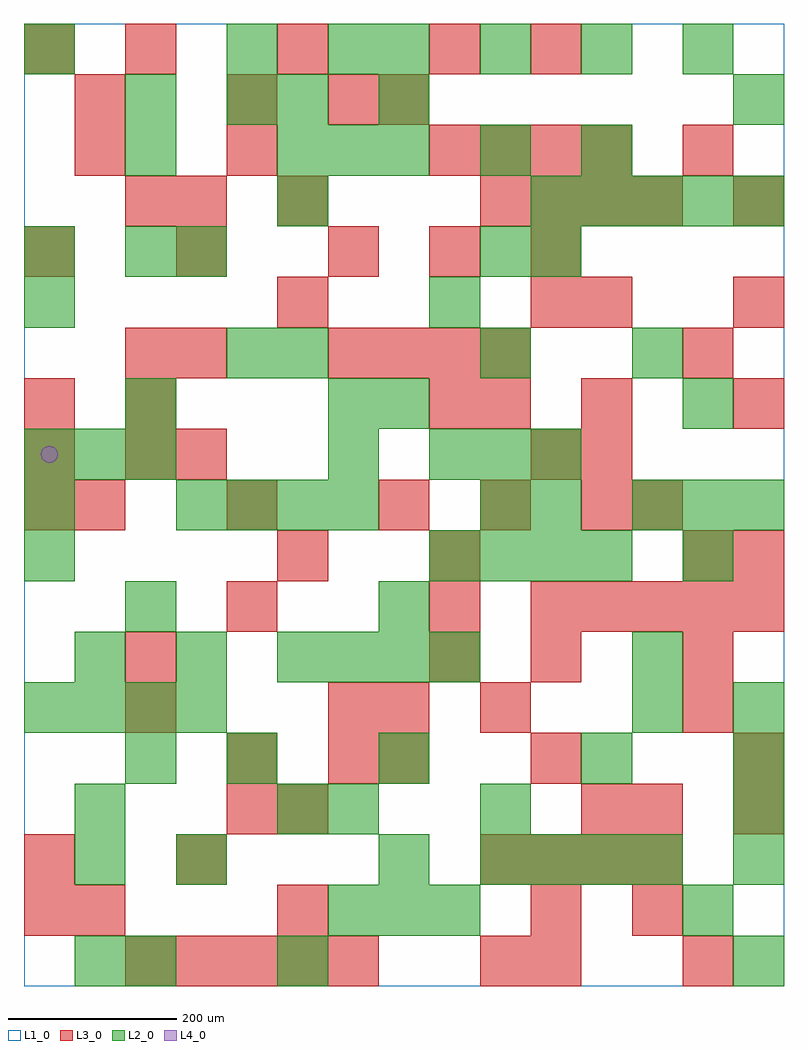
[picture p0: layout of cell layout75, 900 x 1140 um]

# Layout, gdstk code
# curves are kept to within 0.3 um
import gdstk
lib = gdstk.Library(unit=1e-6, precision=1e-09)
def R(c, l, rs):  # rectangles x0, y0, x1, y1
    for r in rs: c.add(gdstk.rectangle(r[:2], r[2:], *l))
def A(c, l, x, y, w, h, nx, ny, dx, dy):  # array of equal rectangles
    R(c, l, [(x+i*dx, y+j*dy, x+i*dx+w, y+j*dy+h) for i in range(nx) for j in range(ny)])
def P(c, l, *ps):  # polygons
    for p in ps: c.add(gdstk.Polygon(p, *l))
L1_0 = (1, 0)
L2_0 = (2, 0)
L3_0 = (3, 0)
L4_0 = (4, 0)

layout75 = lib.new_cell('layout75')
R(layout75, L1_0, [(0,0,900,1140)])
A(layout75, L2_0, 360, 60, 60, 60, 3, 2, 60, 300)
A(layout75, L2_0, 540, 120, 60, 60, 4, 1, 60, 0)
A(layout75, L2_0, 840, 120, 60, 60, 1, 4, 0, 60)
A(layout75, L2_0, 0, 300, 60, 60, 4, 1, 60, 0)
A(layout75, L2_0, 60, 360, 60, 60, 3, 1, 120, 0)
A(layout75, L2_0, 480, 480, 60, 60, 4, 1, 60, 0)
A(layout75, L2_0, 180, 540, 60, 60, 4, 1, 60, 0)
A(layout75, L2_0, 720, 540, 60, 60, 3, 1, 60, 0)
A(layout75, L2_0, 0, 600, 60, 60, 3, 1, 60, 0)
A(layout75, L2_0, 480, 600, 60, 60, 3, 1, 60, 0)
A(layout75, L2_0, 540, 720, 60, 60, 1, 3, 0, 120)
A(layout75, L2_0, 600, 900, 60, 60, 5, 1, 60, 0)
A(layout75, L2_0, 300, 960, 60, 60, 3, 1, 60, 0)
A(layout75, L2_0, 420, 1080, 60, 60, 4, 1, 120, 0)
R(layout75, L2_0, [(60,0,120,60), (120,0,180,60), (300,0,360,60), (840,0,900,60), (780,60,840,120), (60,120,120,180), (180,120,240,180), (420,120,480,180), (60,180,120,240), (300,180,360,240), (360,180,420,240), (540,180,600,240), (120,240,180,300), (240,240,300,300), (420,240,480,300), (660,240,720,300), (720,300,780,360), (720,360,780,420), (120,420,180,480), (420,420,480,480), (0,480,60,540), (780,480,840,540), (0,540,60,600), (540,540,600,600), (600,540,660,600), (360,600,420,660), (120,660,180,720), (360,660,420,720), (420,660,480,720), (780,660,840,720), (240,720,300,780), (300,720,360,780), (720,720,780,780), (0,780,60,840), (480,780,540,840), (0,840,60,900), (120,840,180,900), (180,840,240,900), (600,840,660,900), (300,900,360,960), (120,960,180,1020), (660,960,720,1020), (120,1020,180,1080), (240,1020,300,1080), (300,1020,360,1080), (420,1020,480,1080), (840,1020,900,1080), (0,1080,60,1140), (240,1080,300,1140), (360,1080,420,1140)])
A(layout75, L3_0, 120, 0, 60, 60, 5, 1, 60, 0)
A(layout75, L3_0, 540, 120, 60, 60, 4, 2, 60, 780)
A(layout75, L3_0, 300, 180, 60, 60, 1, 3, 0, 300)
A(layout75, L3_0, 480, 360, 60, 60, 1, 3, 0, 60)
A(layout75, L3_0, 600, 420, 60, 60, 5, 1, 60, 0)
A(layout75, L3_0, 780, 480, 60, 60, 1, 3, 0, 240)
A(layout75, L3_0, 0, 540, 60, 60, 1, 3, 0, 60)
A(layout75, L3_0, 60, 540, 60, 60, 3, 1, 180, 0)
A(layout75, L3_0, 660, 540, 60, 60, 1, 3, 0, 60)
A(layout75, L3_0, 120, 600, 60, 60, 1, 3, 0, 60)
A(layout75, L3_0, 840, 660, 60, 60, 1, 3, 0, 120)
A(layout75, L3_0, 360, 720, 60, 60, 4, 1, 60, 0)
A(layout75, L3_0, 0, 840, 60, 60, 3, 1, 180, 0)
A(layout75, L3_0, 480, 960, 60, 60, 4, 1, 60, 0)
A(layout75, L3_0, 120, 1080, 60, 60, 3, 1, 180, 0)
R(layout75, L3_0, [(540,0,600,60), (600,0,660,60), (780,0,840,60), (0,60,60,120), (60,60,120,120), (300,60,360,120), (600,60,660,120), (720,60,780,120), (0,120,60,180), (180,120,240,180), (240,180,300,240), (660,180,720,240), (720,180,780,240), (840,180,900,240), (240,240,300,300), (360,240,420,300), (420,240,480,300), (600,240,660,300), (840,240,900,300), (120,300,180,360), (360,300,420,360), (420,300,480,360), (540,300,600,360), (780,300,840,360), (120,360,180,420), (600,360,660,420), (780,360,840,420), (240,420,300,480), (840,480,900,540), (540,540,600,600), (720,540,780,600), (180,600,240,660), (600,600,660,660), (480,660,540,720), (540,660,600,720), (180,720,240,780), (600,780,660,840), (660,780,720,840), (480,840,540,900), (600,840,660,900), (120,900,180,960), (180,900,240,960), (300,900,360,960), (60,960,120,1020), (240,960,300,1020), (60,1020,120,1080), (240,1020,300,1080), (360,1020,420,1080), (420,1020,480,1080), (0,1080,60,1140), (600,1080,660,1140)])
P(layout75, L4_0, [(40,630),(39.239,633.827),(37.071,637.071),(33.827,639.239),(30,640),(26.173,639.239),(22.929,637.071),(20.761,633.827),(20,630),(20.761,626.173),(22.929,622.929),(26.173,620.761),(30,620),(33.827,620.761),(37.071,622.929),(39.239,626.173)])

lib.write_gds('layout75.gds')
